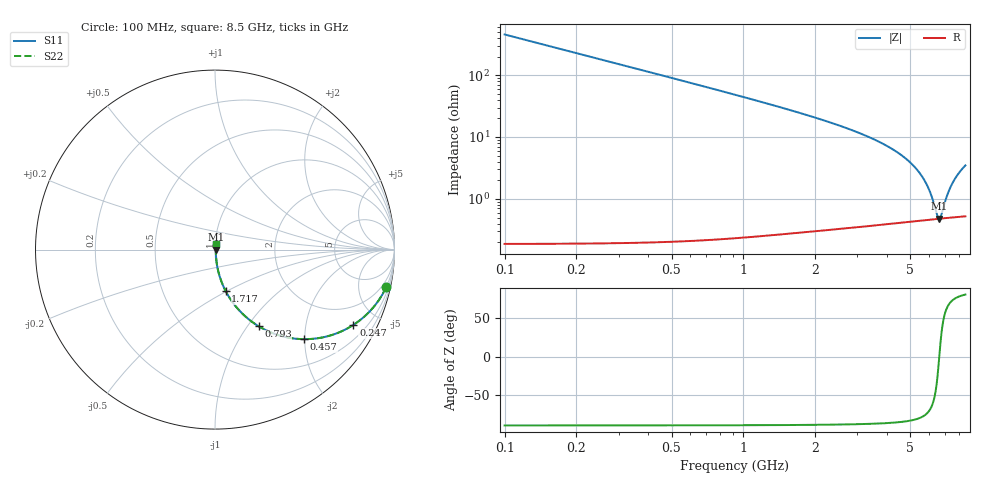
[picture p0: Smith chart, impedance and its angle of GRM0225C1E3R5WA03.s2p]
!Murata Part Number: GRM0225C1E3R5WA03
!These Parameters are Measured in Series Mode Connection
!Data Generated on Mar 30, 2021
!  o--ll--o
!Port1  Port2
!  o------o
!Operation Temp=25[degC], DC Bias Voltage=0[V]
!Freq. Start=100[MHz] Stop=9[GHz] 401[Steps]
# Hz S RI R 50
!Freq.(Hz) S11(Real) S11(Imag) S21(Real) S21(Imag) S12(Real) S12(Imag) S22(Real) S22(Imag)
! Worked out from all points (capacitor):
!   401 points, 100 MHz to 8.5 GHz, reference 50 ohm
!   read as one part in series: C = 3.5 pF near 142 MHz
!   lowest |Z| = 478 mohm at 6.61 GHz (marker M1)
!   series resonance near 6.607 GHz, so ESL is about 170 pH
!   S11 on the Smith chart (normalised r, x): 100 MHz: 1.00, -9.09; 247 MHz: 1.00, -3.68; 457 MHz: 1.00, -1.98; 793 MHz: 1.00, -1.13; 1.717 GHz: 1.01, -0.49; 8.5 GHz: 1.01, +0.07
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1e8  0.9538 -0.2098  0.0462 0.2098  0.0462 0.2098  0.9538 -0.2098
1.84e8  0.8589 -0.3477  0.1411 0.3477  0.1411 0.3477  0.8589 -0.3477
2.47e8  0.7714 -0.4194  0.2286 0.4194  0.2286 0.4194  0.7714 -0.4194
3.52e8  0.6237 -0.4837  0.3763 0.4837  0.3763 0.4837  0.6237 -0.4837
4.57e8  0.4949 -0.499  0.5051 0.499  0.5051 0.499  0.4949 -0.499
6.25e8  0.3421 -0.473  0.6579 0.473  0.6579 0.473  0.3421 -0.473
7.93e8  0.2425 -0.4266  0.7575 0.4266  0.7575 0.4266  0.2425 -0.4266
1.087e9  0.1431 -0.3472  0.8569 0.3472  0.8569 0.3472  0.1431 -0.3472
1.507e9  0.0773 -0.2624  0.9227 0.2624  0.9227 0.2624  0.0773 -0.2624
1.717e9  0.0594 -0.2307  0.9406 0.2307  0.9406 0.2307  0.0594 -0.2307
2.914e9  0.0186 -0.1221  0.9814 0.1221  0.9814 0.1221  0.0186 -0.1221
4.3e9  0.00758 -0.0596  0.9924 0.0596  0.9924 0.0596  0.00758 -0.0596
5.119e9  0.00551 -0.0347  0.9945 0.0347  0.9945 0.0347  0.00551 -0.0347
5.707e9  0.00488 -0.0198  0.9951 0.0198  0.9951 0.0198  0.00488 -0.0198
6.085e9  0.00473 -0.0111  0.9953 0.0111  0.9953 0.0111  0.00473 -0.0111
6.505e9  0.00473 -0.00209  0.9953 0.00209  0.9953 0.00209  0.00473 -0.00209
6.61e9  0.00476 6.06e-05  0.9952 -6.06e-05  0.9952 -6.06e-05  0.00476 6.06e-05
6.715e9  0.00479 0.00217  0.9952 -0.00217  0.9952 -0.00217  0.00479 0.00217
7.114e9  0.00499 0.00992  0.995 -0.00992  0.995 -0.00992  0.00499 0.00992
7.366e9  0.00517 0.0146  0.9948 -0.0146  0.9948 -0.0146  0.00517 0.0146
7.681e9  0.00544 0.0202  0.9946 -0.0202  0.9946 -0.0202  0.00544 0.0202
8.5e9  0.00636 0.034  0.9936 -0.034  0.9936 -0.034  0.00636 0.034
